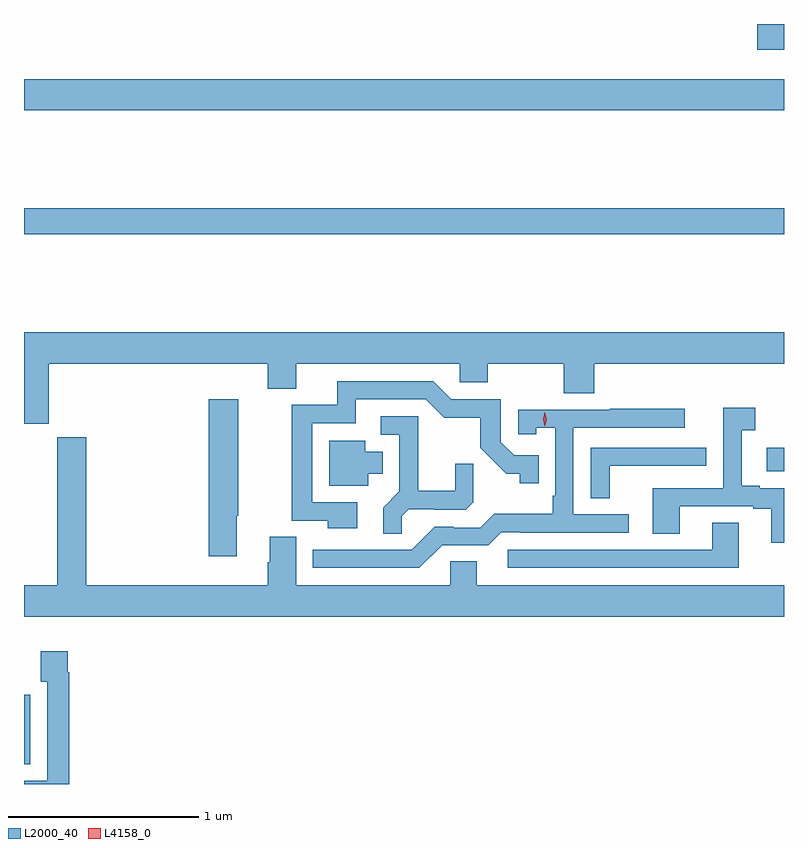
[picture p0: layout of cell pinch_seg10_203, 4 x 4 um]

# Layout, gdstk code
import gdstk
lib = gdstk.Library(unit=1e-6, precision=1e-09)
def R(c, l, rs):  # rectangles x0, y0, x1, y1
    for r in rs: c.add(gdstk.rectangle(r[:2], r[2:], *l))
def P(c, l, *ps):  # polygons
    for p in ps: c.add(gdstk.Polygon(p, *l))
L2000_40 = (2000, 40)
L4158_0 = (4158, 0)

pinch_seg10_203 = lib.new_cell('pinch_seg10_203')
R(pinch_seg10_203, L2000_40, [(770.659,1264.906,770.692,1265.272), (774.567,1266.449,774.659,1266.573), (770.659,1267.696,774.659,1267.832), (770.659,1268.348,774.659,1268.512), (774.518,1268.667,774.659,1268.803)])
P(pinch_seg10_203, L2000_40, [(770.788,1267.016),(771.941,1267.016),(771.941,1266.883),(772.093,1266.883),(772.093,1267.016),(772.953,1267.016),(772.953,1266.918),(773.1,1266.918),(773.1,1267.016),(773.5,1267.016),(773.5,1266.859),(773.66,1266.859),(773.66,1267.016),(774.659,1267.016),(774.659,1267.18),(770.659,1267.18),(770.659,1266.699),(770.788,1266.699)],
  [(772.414,1266.285),(772.176,1266.285),(772.176,1266.702),(772.405,1266.702),(772.405,1266.828),(772.773,1266.828),(772.872,1266.73),(773.061,1266.73),(773.061,1266.574),(773.198,1266.437),(773.268,1266.437),(773.268,1266.387),(773.369,1266.387),(773.369,1266.534),(773.238,1266.534),(773.169,1266.603),(773.169,1266.828),(772.908,1266.828),(772.812,1266.924),(772.307,1266.924),(772.307,1266.798),(772.068,1266.798),(772.068,1266.189),(772.258,1266.189),(772.258,1266.149),(772.414,1266.149)],
  [(771.778,1266.215),(771.786,1266.215),(771.786,1266.829),(771.632,1266.829),(771.632,1266.003),(771.778,1266.003)],
  [(774.659,1266.36),(774.532,1266.36),(774.532,1266.373),(774.436,1266.373),(774.436,1266.664),(774.508,1266.664),(774.508,1266.784),(774.339,1266.784),(774.339,1266.36),(773.969,1266.36),(773.969,1266.121),(774.109,1266.121),(774.109,1266.264),(774.497,1266.264),(774.497,1266.252),(774.593,1266.252),(774.593,1266.072),(774.659,1266.072)],
  [(772.86,1266.06),(773.103,1266.06),(773.172,1266.129),(773.272,1266.129),(773.272,1266.126),(773.842,1266.126),(773.842,1266.222),(773.55,1266.222),(773.55,1266.678),(774.136,1266.678),(774.136,1266.777),(773.743,1266.777),(773.743,1266.774),(773.259,1266.774),(773.259,1266.645),(773.355,1266.645),(773.355,1266.677),(773.454,1266.677),(773.454,1266.319),(773.442,1266.319),(773.442,1266.226),(773.134,1266.226),(773.061,1266.153),(772.922,1266.153),(772.922,1266.156),(772.821,1266.156),(772.701,1266.036),(772.178,1266.036),(772.178,1265.94),(772.74,1265.94)],
  [(772.647,1266.212),(772.684,1266.249),(772.818,1266.249),(772.818,1266.246),(772.983,1266.246),(773.024,1266.287),(773.024,1266.489),(772.93,1266.489),(772.93,1266.346),(772.733,1266.346),(772.733,1266.738),(772.536,1266.738),(772.536,1266.642),(772.635,1266.642),(772.635,1266.343),(772.549,1266.257),(772.549,1266.121),(772.647,1266.121)],
  [(774.659,1265.848),(773.041,1265.848),(773.041,1265.975),(772.902,1265.975),(772.902,1265.848),(772.093,1265.848),(772.093,1266.104),(771.953,1266.104),(771.953,1265.97),(771.941,1265.97),(771.941,1265.848),(770.987,1265.848),(770.987,1266.627),(770.834,1266.627),(770.834,1265.848),(770.659,1265.848),(770.659,1265.684),(774.659,1265.684)],
  [(772.471,1266.437),(772.546,1266.437),(772.546,1266.553),(772.456,1266.553),(772.456,1266.61),(772.265,1266.61),(772.265,1266.374),(772.471,1266.374)],
  [(773.742,1266.477),(774.137,1266.477),(774.137,1266.478),(774.25,1266.478),(774.25,1266.573),(773.643,1266.573),(773.643,1266.307),(773.742,1266.307)],
  [(774.421,1266.179),(774.281,1266.179),(774.281,1266.036),(773.205,1266.036),(773.205,1265.94),(774.421,1265.94)],
  [(770.897,1265.39),(770.89,1265.39),(770.89,1265.503),(770.747,1265.503),(770.747,1265.342),(770.781,1265.342),(770.781,1264.821),(770.659,1264.821),(770.659,1264.803),(770.897,1264.803)])
P(pinch_seg10_203, L4158_0, [(773.401,1266.687),(773.401,1266.687),(773.391,1266.723),(773.401,1266.759),(773.401,1266.759),(773.401,1266.759),(773.411,1266.723),(773.401,1266.687)])

lib.write_gds('pinch_seg10_203.gds')
